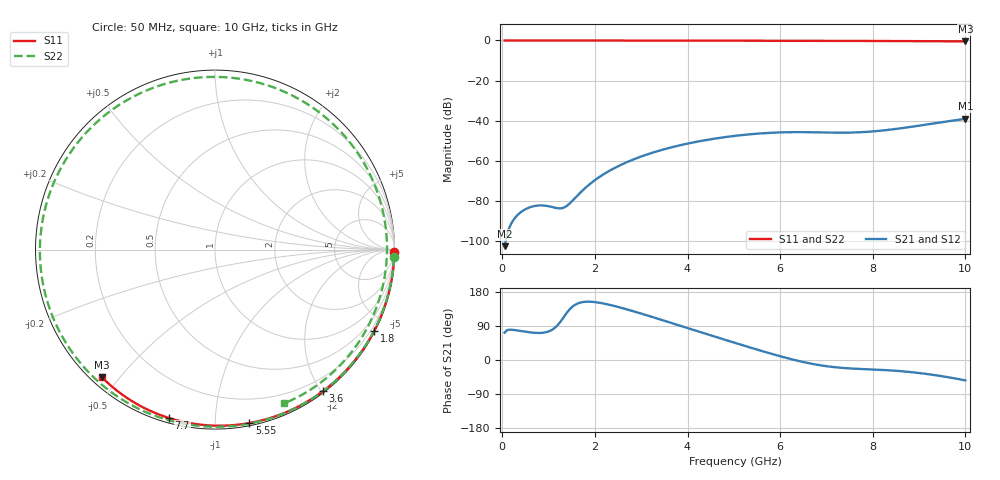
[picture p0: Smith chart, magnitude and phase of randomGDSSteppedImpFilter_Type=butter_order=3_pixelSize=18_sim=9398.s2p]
! freq	dB(S11)	phase(S11)	dB(S12)	phase(S12)
!  dB(S21)	phase(S21)	dB(S22)	phase(S22)
!S-par simulation data
#  GHz  S  DB  R 50
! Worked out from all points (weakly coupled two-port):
!   200 points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, 50 MHz to 10 GHz, reference 50 ohm
!   highest |S21| = -39.02 dB at 10 GHz (marker M1); lowest = -102.5 dB at 50 MHz (marker M2)
!   lowest |S11| = -0.4 dB at 10 GHz (marker M3), VSWR 38.97, Z = 1.54 - j22.4 ohm
!   |S11| at or under -10 dB: nowhere
!   |S22| runs from -0.5 to 0.0 dB; largest |S21 - S12| = 0
!   S11 on the Smith chart (normalised r, x): 50 MHz: open; 1.8 GHz: 0.04, -4.17; 3.6 GHz: 0.02, -2.02; 5.55 GHz: 0.02, -1.22; 7.7 GHz: 0.02, -0.76; 10 GHz: 0.03, -0.45
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0.05  -0.00 -0.7  -102.47 72.1  -102.47 72.1  -0.00 -2.5
0.7  -0.01 -10.6  -82.46 71.7  -82.46 71.7  -0.05 -33.7
1.1  -0.02 -16.6  -83.10 81.6  -83.10 81.6  -0.07 -52.6
1.5  -0.03 -22.6  -80.21 139.2  -80.21 139.2  -0.09 -71.0
1.75  -0.03 -26.2  -74.37 153.1  -74.37 153.1  -0.10 -82.4
1.8  -0.03 -27.0  -73.32 153.7  -73.32 153.7  -0.11 -84.6
2.15  -0.04 -32.1  -67.20 149.9  -67.20 149.9  -0.13 -100.2
2.55  -0.05 -37.9  -62.10 138.4  -62.10 138.4  -0.15 -117.7
3  -0.06 -44.3  -57.80 122.5  -57.80 122.5  -0.17 -137.1
3.4  -0.07 -50.0  -54.82 107.4  -54.82 107.4  -0.18 -154.3
3.6  -0.07 -52.8  -53.55 99.7  -53.55 99.7  -0.19 -162.8
4.3  -0.09 -62.4  -50.02 72.8  -50.02 72.8  -0.23 166.7
4.65  -0.10 -67.0  -48.68 59.4  -48.68 59.4  -0.25 151.2
5.05  -0.11 -72.3  -47.46 44.2  -47.46 44.2  -0.28 133.1
5.55  -0.13 -78.8  -46.36 25.7  -46.36 25.7  -0.31 110.0
6.1  -0.15 -85.8  -45.74 6.6  -45.74 6.6  -0.34 84.2
6.7  -0.18 -93.2  -45.73 -10.4  -45.73 -10.4  -0.35 56.4
7.2  -0.21 -99.3  -45.93 -19.3  -45.93 -19.3  -0.35 34.1
7.7  -0.24 -105.2  -45.76 -23.5  -45.76 -23.5  -0.36 12.9
8.35  -0.29 -112.8  -44.50 -27.2  -44.50 -27.2  -0.38 -12.5
9.2  -0.36 -122.6  -41.76 -37.4  -41.76 -37.4  -0.45 -41.9
10  -0.45 -131.7  -39.02 -53.8  -39.02 -53.8  -0.54 -65.8
